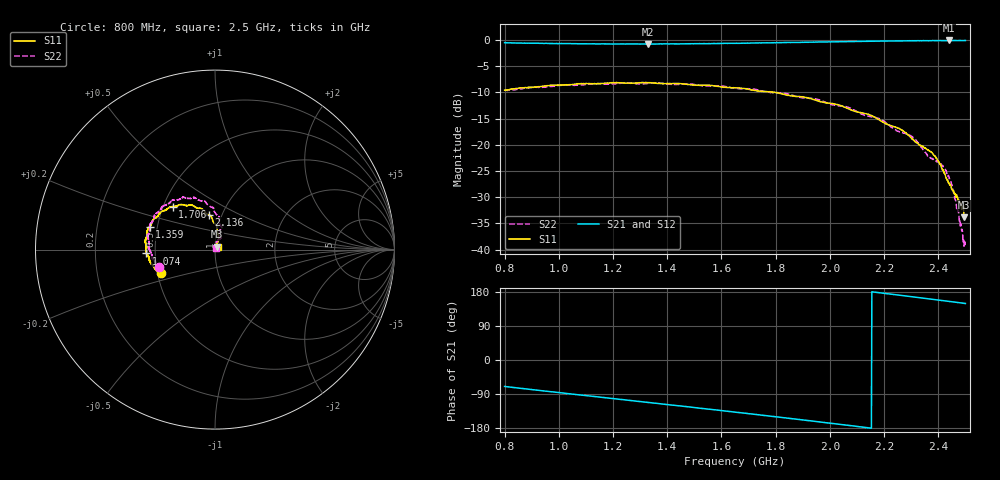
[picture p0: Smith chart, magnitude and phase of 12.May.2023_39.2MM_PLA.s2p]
!Keysight Technologies N9950B: A.12.38
!Date: Friday, 12 May 2023 12:14:17
!Timezone: (UTC-06:00) Central Time (US & Canada)
!Model: N9950B
!Serial: MY61131330
!GPS Latitude:
!GPS Longitude:
!GPS TimeStamp: 0001-01-01 00:00:00Z
!GPS Seconds Since Last Read: 0
!CHECKSUM:1885597699
!Correction: S11(ON U)S21(ON U)S12(ON U)S22(ON U)
!S2P File: Measurements:S11,S21,S12,S22:
# Hz S DB R 50
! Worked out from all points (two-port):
!   1001 points, 800 MHz to 2.5 GHz, reference 50 ohm
!   highest |S21| = -0.11 dB at 2.439 GHz (marker M1); lowest = -0.8 dB at 1.329 GHz (marker M2)
!   |S21| within 3 dB of the highest: start of sweep to end of sweep
!   lowest |S11| = -33.8 dB at 2.495 GHz (marker M3), VSWR 1.04, Z = 51.2 + j1.66 ohm
!   |S11| at or under -10 dB: 1.796 GHz to end of sweep
!   |S22| runs from -39.3 to -8.2 dB; largest |S21 - S12| = 0.0051
!   S11 on the Smith chart (normalised r, x): 800 MHz: 0.52, -0.15; 1.074 GHz: 0.45, -0.02; 1.359 GHz: 0.45, +0.14; 1.706 GHz: 0.56, +0.30; 2.136 GHz: 0.87, +0.35; 2.5 GHz: 1.03, +0.03
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8e8  -9.60 -156.4  -0.54 -69.8  -0.58 -69.8  -9.65 -162.7
1.0737e9  -8.35 -176.7  -0.75 -91.9  -0.75 -92.0  -8.64 173.0
1.0839e9  -8.33 -178.0  -0.76 -92.6  -0.77 -92.7  -8.57 172.1
1.3287e9  -8.18 163.6  -0.81 -111.9  -0.83 -111.9  -8.32 151.8
1.3593e9  -8.28 160.8  -0.79 -114.3  -0.78 -114.3  -8.21 149.8
1.3678e9  -8.31 160.2  -0.78 -115.0  -0.80 -114.9  -8.20 149.5
1.65e9  -9.13 139.2  -0.65 -137.6  -0.68 -137.5  -9.24 126.5
1.7061e9  -9.48 134.5  -0.63 -142.1  -0.63 -141.8  -9.31 121.5
1.9339e9  -11.29 116.5  -0.43 -160.9  -0.45 -160.9  -11.16 102.0
2.0682e9  -13.14 105.4  -0.32 -172.5  -0.33 -172.5  -12.88 91.9
2.1362e9  -14.14 99.8  -0.29 -178.4  -0.29 -178.4  -14.48 85.0
2.1838e9  -15.30 95.1  -0.25 177.4  -0.26 177.5  -15.06 82.3
2.2178e9  -16.23 93.7  -0.22 174.4  -0.23 174.4  -16.26 81.2
2.2637e9  -17.20 87.8  -0.20 170.5  -0.20 170.3  -17.62 73.8
2.3079e9  -19.09 83.7  -0.17 166.5  -0.19 166.5  -18.67 74.3
2.3776e9  -21.55 76.8  -0.13 160.3  -0.17 160.2  -22.71 64.6
2.4133e9  -24.47 69.8  -0.14 157.0  -0.13 157.0  -23.97 67.0
2.4388e9  -27.20 70.8  -0.11 154.6  -0.14 154.7  -26.01 75.9
2.4558e9  -28.71 71.2  -0.13 153.1  -0.14 153.1  -28.76 80.2
2.4864e9  -32.36 59.9  -0.13 150.3  -0.14 150.4  -36.39 74.7
2.4949e9  -33.84 52.6  -0.12 149.5  -0.14 149.6  -39.34 69.6
2.5e9  -33.50 45.5  -0.12 149.1  -0.13 149.1  -38.15 67.3
